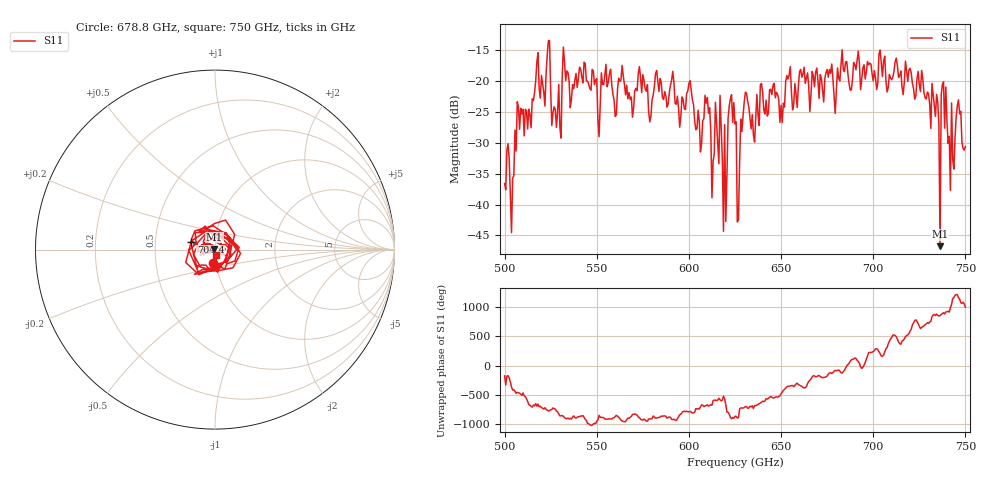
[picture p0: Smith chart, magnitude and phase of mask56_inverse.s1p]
!Created with skrf (http://scikit-rf.org).
# GHz S MA R 50.0
!freq magS11 angS11
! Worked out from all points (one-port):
!   401 points, 500 GHz to 750 GHz, reference 50 ohm
!   lowest |S11| = -46.7 dB at 736.2 GHz (marker M1), VSWR 1.01, Z = 49.7 + j0.317 ohm
!   |S11| at or under -10 dB: start of sweep to end of sweep
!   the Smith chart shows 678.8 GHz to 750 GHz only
!   S11 on the Smith chart (normalised r, x): 678.8 GHz: 0.97, -0.14; 704.4 GHz: 0.76, +0.07; 750 GHz: 1.01, -0.06
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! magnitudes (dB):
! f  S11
! 500 GHz  -36.6
! 503.8 GHz  -44.5
! 508.1 GHz  -27.8
! 517.5 GHz  -16.9
! 523.8 GHz  -13.5
! 526.9 GHz  -24.2
! 531.2 GHz  -19.4
! 562.5 GHz  -20.0
! 593.8 GHz  -22.5
! 600 GHz  -20.4
! 606.9 GHz  -30.1
! 610 GHz  -22.7
! 619.4 GHz  -27.1
! 622.5 GHz  -22.9
! 625 GHz  -26.9
! 627.5 GHz  -33.4
! 631.2 GHz  -22.0
! 635 GHz  -28.7
! 656.2 GHz  -24.7
! 678.8 GHz  -22.6
! 687.5 GHz  -21.5
! 704.4 GHz  -17.1
! 718.8 GHz  -20.1
! 736.2 GHz  -46.7
! 738.1 GHz  -20.1
! 742.5 GHz  -23.6
! 746.2 GHz  -23.1
! 750 GHz  -30.6
